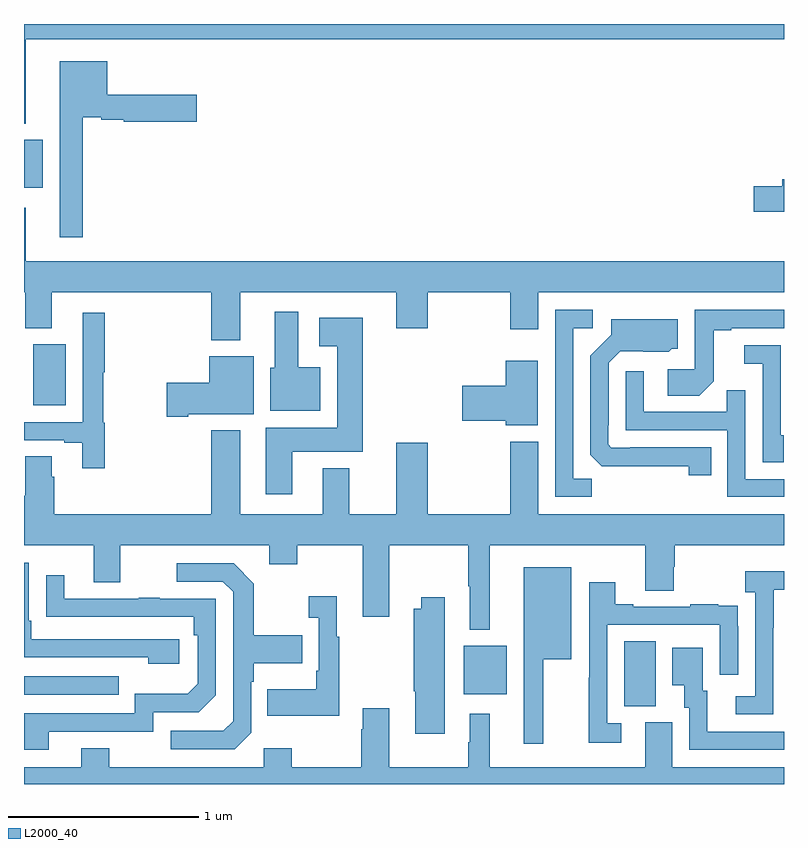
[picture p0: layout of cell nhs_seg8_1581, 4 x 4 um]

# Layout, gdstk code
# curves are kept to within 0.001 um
import gdstk
lib = gdstk.Library(unit=1e-6, precision=1e-09)
def R(c, l, rs):  # rectangles x0, y0, x1, y1
    for r in rs: c.add(gdstk.rectangle(r[:2], r[2:], *l))
def P(c, l, *ps):  # polygons
    for p in ps: c.add(gdstk.Polygon(p, *l))
L2000_40 = (2000, 40)

nhs_seg8_1581 = lib.new_cell('nhs_seg8_1581')
R(nhs_seg8_1581, L2000_40, [(214.16,1126.309,214.324,1126.652), (211,1126.371,211.499,1126.467), (213.314,1126.373,213.541,1126.627), (211.049,1127.894,211.219,1128.214), (211,1129.037,211.099,1129.291)])
P(nhs_seg8_1581, L2000_40, [(211.009,1129.82),(215,1129.82),(215,1129.9),(211,1129.9),(211,1129.376),(211.009,1129.376)],
  [(211.309,1129.409),(211.406,1129.409),(211.406,1129.397),(211.524,1129.397),(211.524,1129.385),(211.909,1129.385),(211.909,1129.527),(211.438,1129.527),(211.438,1129.705),(211.187,1129.705),(211.187,1128.777),(211.309,1128.777)],
  [(215,1129.082),(214.991,1129.082),(214.991,1129.046),(214.842,1129.046),(214.842,1128.911),(215,1128.911)],
  [(212.137,1128.488),(212.96,1128.488),(212.96,1128.3),(213.124,1128.3),(213.124,1128.488),(213.559,1128.488),(213.559,1128.294),(213.706,1128.294),(213.706,1128.488),(215,1128.488),(215,1128.652),(211.009,1128.652),(211.009,1128.934),(211,1128.934),(211,1128.488),(211.007,1128.488),(211.007,1128.299),(211.147,1128.299),(211.147,1128.488),(211.985,1128.488),(211.985,1128.236),(212.137,1128.236)],
  [(213.987,1127.507),(213.891,1127.507),(213.891,1128.3),(213.994,1128.3),(213.994,1128.396),(213.795,1128.396),(213.795,1127.412),(213.987,1127.412)],
  [(214.629,1128.02),(214.629,1128.288),(214.723,1128.288),(214.723,1128.3),(215,1128.3),(215,1128.396),(214.53,1128.396),(214.53,1128.084),(214.389,1128.084),(214.389,1127.944),(214.553,1127.944)],
  [(212.56,1128.094),(212.443,1128.094),(212.443,1128.385),(212.321,1128.385),(212.321,1128.09),(212.297,1128.09),(212.297,1127.864),(212.56,1127.864)],
  [(211.424,1127.802),(211.417,1127.802),(211.417,1128.066),(211.424,1128.066),(211.424,1128.379),(211.308,1128.379),(211.308,1127.805),(211,1127.805),(211,1127.709),(211.211,1127.709),(211.211,1127.697),(211.307,1127.697),(211.307,1127.562),(211.424,1127.562)],
  [(212.413,1127.648),(212.783,1127.648),(212.783,1128.355),(212.553,1128.355),(212.553,1128.203),(212.648,1128.203),(212.648,1127.776),(212.273,1127.776),(212.273,1127.424),(212.413,1127.424)],
  [(214.616,1127.673),(214.192,1127.673),(214.192,1127.67),(214.092,1127.67),(214.074,1127.688),(214.074,1127.788),(214.077,1127.788),(214.077,1128.117),(214.137,1128.177),(214.394,1128.176),(214.41,1128.192),(214.441,1128.192),(214.441,1128.346),(214.091,1128.346),(214.091,1128.264),(213.981,1128.154),(213.981,1127.632),(214.04,1127.573),(214.498,1127.572),(214.498,1127.526),(214.616,1127.526)],
  [(214.998,1127.736),(214.983,1127.736),(214.983,1128.21),(214.791,1128.21),(214.791,1128.113),(214.887,1128.113),(214.887,1127.593),(214.998,1127.593)],
  [(211.864,1127.846),(212.209,1127.846),(212.209,1128.151),(211.976,1128.151),(211.976,1128.012),(211.752,1128.012),(211.752,1127.834),(211.864,1127.834)],
  [(213.703,1128.127),(213.536,1128.127),(213.536,1127.996),(213.306,1127.996),(213.306,1127.813),(213.536,1127.813),(213.536,1127.789),(213.703,1127.789)],
  [(215,1127.505),(214.797,1127.505),(214.797,1127.972),(214.699,1127.972),(214.699,1127.859),(214.263,1127.859),(214.263,1128.073),(214.167,1128.073),(214.167,1127.763),(214.701,1127.763),(214.701,1127.412),(215,1127.412)],
  [(213.559,1127.701),(213.559,1127.32),(213.124,1127.32),(213.124,1127.695),(212.96,1127.695),(212.96,1127.32),(212.713,1127.32),(212.713,1127.563),(212.573,1127.563),(212.573,1127.32),(212.137,1127.32),(212.137,1127.761),(211.985,1127.761),(211.985,1127.32),(211.16,1127.32),(211.16,1127.516),(211.147,1127.516),(211.147,1127.624),(211.007,1127.624),(211.007,1127.416),(211,1127.416),(211,1127.156),(211.367,1127.156),(211.367,1126.962),(211.507,1126.962),(211.507,1127.156),(212.291,1127.156),(212.291,1127.057),(212.439,1127.057),(212.439,1127.156),(212.783,1127.156),(212.783,1126.779),(212.923,1126.779),(212.923,1127.156),(213.337,1127.156),(213.337,1126.94),(213.347,1126.94),(213.347,1126.712),(213.451,1126.712),(213.451,1127.156),(214.271,1127.156),(214.271,1126.918),(214.419,1126.918),(214.419,1127.043),(214.424,1127.043),(214.424,1127.156),(215,1127.156),(215,1127.32),(213.706,1127.32),(213.706,1127.701)],
  [(211.816,1126.662),(211.039,1126.662),(211.039,1126.759),(211.026,1126.759),(211.026,1127.064),(211,1127.064),(211,1126.566),(211.655,1126.566),(211.655,1126.532),(211.816,1126.532)],
  [(212.196,1126.17),(212.196,1126.439),(212.209,1126.439),(212.209,1126.535),(212.465,1126.535),(212.465,1126.683),(212.209,1126.683),(212.209,1126.955),(212.103,1127.061),(211.803,1127.061),(211.803,1126.965),(212.046,1126.965),(212.1,1126.911),(212.1,1126.23),(212.049,1126.179),(211.773,1126.179),(211.773,1126.083),(212.109,1126.083)],
  [(213.733,1126.556),(213.88,1126.556),(213.88,1127.041),(213.629,1127.041),(213.629,1126.113),(213.733,1126.113)],
  [(214.944,1126.723),(214.945,1126.723),(214.945,1126.923),(215,1126.923),(215,1127.02),(214.797,1127.02),(214.797,1126.91),(214.848,1126.91),(214.848,1126.362),(214.746,1126.362),(214.746,1126.266),(214.944,1126.266)],
  [(211.129,1126.176),(211.68,1126.176),(211.68,1126.278),(211.92,1126.278),(212.01,1126.368),(212.01,1126.875),(211.715,1126.875),(211.715,1126.88),(211.603,1126.88),(211.603,1126.875),(211.213,1126.875),(211.213,1126.999),(211.117,1126.999),(211.117,1126.78),(211.894,1126.779),(211.894,1126.682),(211.914,1126.682),(211.914,1126.428),(211.861,1126.375),(211.584,1126.375),(211.584,1126.272),(211,1126.272),(211,1126.08),(211.129,1126.08)],
  [(214.144,1126.221),(214.071,1126.221),(214.071,1126.737),(214.662,1126.737),(214.662,1126.476),(214.758,1126.476),(214.758,1126.73),(214.757,1126.73),(214.757,1126.839),(214.655,1126.839),(214.655,1126.846),(214.507,1126.846),(214.507,1126.833),(214.207,1126.833),(214.207,1126.846),(214.111,1126.846),(214.111,1126.963),(213.975,1126.963),(213.975,1126.46),(213.973,1126.46),(213.973,1126.116),(214.144,1126.116)],
  [(212.659,1126.675),(212.647,1126.675),(212.647,1126.888),(212.499,1126.888),(212.499,1126.775),(212.55,1126.775),(212.55,1126.495),(212.538,1126.495),(212.538,1126.399),(212.281,1126.399),(212.281,1126.259),(212.659,1126.259)],
  [(213.214,1126.882),(213.092,1126.882),(213.092,1126.822),(213.052,1126.822),(213.052,1126.387),(213.059,1126.387),(213.059,1126.164),(213.214,1126.164)],
  [(215,1126.176),(214.597,1126.176),(214.597,1126.392),(214.573,1126.392),(214.573,1126.618),(214.412,1126.618),(214.412,1126.421),(214.475,1126.421),(214.475,1126.302),(214.5,1126.302),(214.5,1126.08),(215,1126.08)],
  [(215,1125.988),(214.411,1125.988),(214.411,1126.224),(214.271,1126.224),(214.271,1125.988),(213.451,1125.988),(213.451,1126.27),(213.347,1126.27),(213.347,1126.121),(213.337,1126.121),(213.337,1125.988),(212.923,1125.988),(212.923,1126.3),(212.783,1126.3),(212.783,1126.187),(212.776,1126.187),(212.776,1125.988),(212.409,1125.988),(212.409,1126.087),(212.262,1126.087),(212.262,1125.988),(211.449,1125.988),(211.449,1126.087),(211.301,1126.087),(211.301,1125.988),(211,1125.988),(211,1125.9),(215,1125.9)])

lib.write_gds('nhs_seg8_1581.gds')
